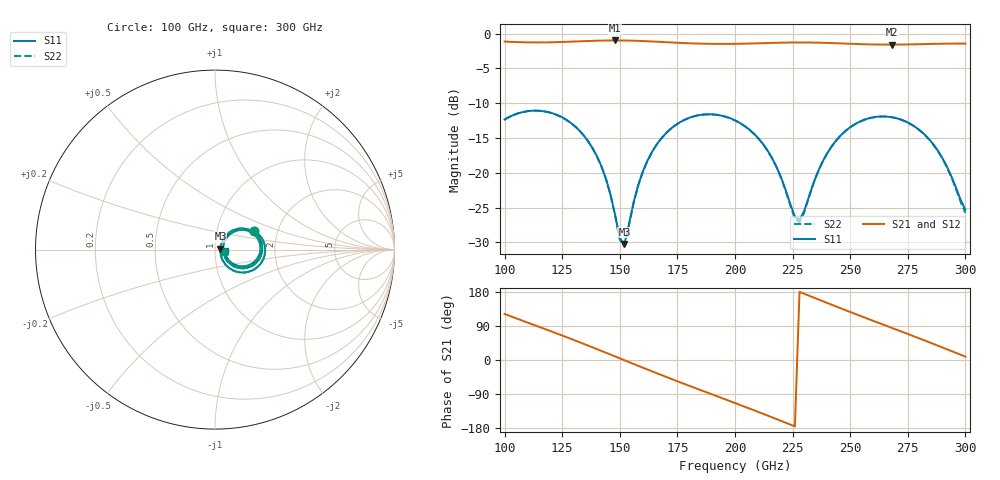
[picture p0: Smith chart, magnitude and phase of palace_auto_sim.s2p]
#  GHZ S DB R 50
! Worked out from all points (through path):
!   101 points, 100 GHz to 300 GHz, reference 50 ohm
!   highest |S21| = -0.99 dB at 148 GHz (marker M1); lowest = -1.6 dB at 268 GHz (marker M2)
!   group delay of S21, straight-line fit = 6.58 ps
!   lowest |S11| = -30.2 dB at 152 GHz (marker M3), VSWR 1.06, Z = 53.1 + j0.639 ohm
!   |S11| at or under -10 dB: start of sweep to end of sweep
!   |S22| runs from -30.5 to -11.1 dB; largest |S21 - S12| = 1.5e-12
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100  -12.34 25.9  -1.15 121.5  -1.15 121.5  -12.35 25.9
118  -11.21 -10.5  -1.26 80.6  -1.26 80.6  -11.22 -10.6
134  -14.49 -42.2  -1.09 43.4  -1.09 43.4  -14.50 -42.6
142  -19.04 -54.0  -1.01 24.0  -1.01 24.0  -19.07 -54.6
148  -26.10 -46.3  -0.99 9.3  -0.99 9.3  -26.22 -47.4
150  -29.39 -26.3  -0.99 4.3  -0.99 4.3  -29.64 -27.3
152  -30.23 11.3  -1.00 -0.6  -1.00 -0.6  -30.53 11.6
160  -19.81 52.0  -1.07 -20.3  -1.07 -20.3  -19.84 52.3
168  -15.06 41.4  -1.20 -39.6  -1.20 -39.6  -15.07 41.5
184  -11.74 11.1  -1.43 -76.9  -1.43 -76.9  -11.75 10.9
200  -12.46 -19.0  -1.47 -113.6  -1.47 -113.6  -12.47 -19.3
214  -16.72 -40.6  -1.36 -146.3  -1.36 -146.3  -16.76 -41.3
226  -26.28 -15.2  -1.28 -175.3  -1.28 -175.3  -26.57 -16.0
228  -26.77 7.1  -1.27 179.8  -1.27 179.8  -27.08 7.2
234  -21.53 44.0  -1.29 165.2  -1.29 165.2  -21.61 44.8
240  -17.19 44.3  -1.34 150.6  -1.34 150.6  -17.22 44.6
248  -13.97 32.9  -1.44 131.4  -1.44 131.4  -13.98 33.0
258  -12.17 14.6  -1.54 108.0  -1.54 108.0  -12.18 14.5
268  -12.01 -4.4  -1.58 84.9  -1.58 84.9  -12.01 -4.6
276  -12.95 -19.0  -1.55 66.4  -1.55 66.4  -12.96 -19.5
286  -15.87 -34.5  -1.48 42.7  -1.48 42.7  -15.90 -35.4
300  -25.31 -10.6  -1.44 8.9  -1.44 8.9  -25.77 -12.0
